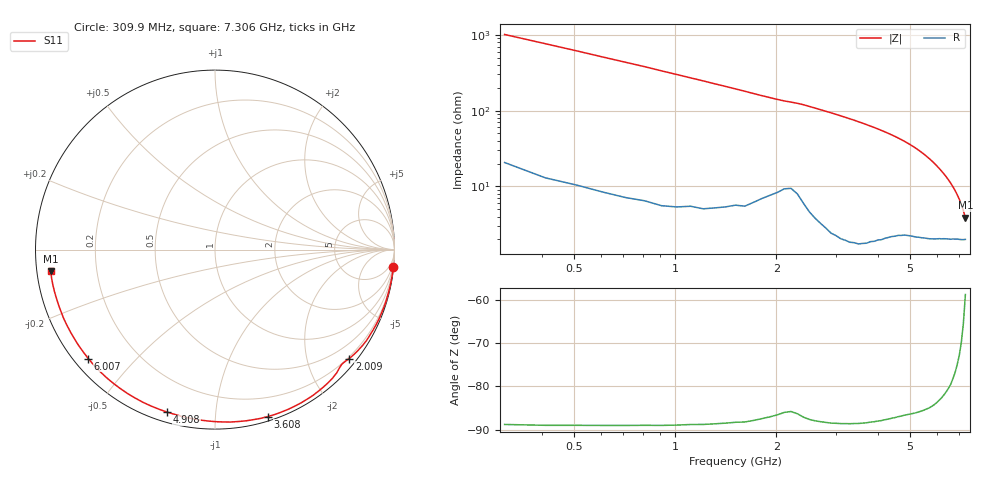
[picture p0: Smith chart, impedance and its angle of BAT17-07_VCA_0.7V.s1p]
! Infineon Technologies  Discrete & RF Semiconductors
! BAT17-07
! VCA = 0.7 V
! One-Port S-Parameters
# Hz  S  MA  R  50
!f  S11
!Hz  Mag  Ang
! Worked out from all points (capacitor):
!   71 points, 309.9 MHz to 7.306 GHz, reference 50 ohm
!   read as one part to ground: C = 509 fF near 309.9 MHz
!   lowest |Z| = 3.85 ohm at 7.306 GHz (marker M1)
!   S11 on the Smith chart (normalised r, x): 309.9 MHz: 0, -20; 2.009 GHz: 0.17, -2.81; 3.608 GHz: 0.04, -1.37; 4.908 GHz: 0.04, -0.75; 6.007 GHz: 0.04, -0.37; 7.306 GHz: 0.04, -0.07
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3.0985e8  0.998 -5.7
8.096e8  0.9956 -15.0
1.2094e9  0.9921 -22.9
1.6092e9  0.9844 -31.0
1.8091e9  0.975 -35.2
2.009e9  0.9635 -39.1
2.10895e9  0.9558 -40.8
2.30885e9  0.957 -43.6
2.50875e9  0.9706 -47.6
2.70865e9  0.9755 -51.9
3.0085e9  0.9788 -58.5
3.30835e9  0.9789 -65.4
3.6082e9  0.9757 -72.4
3.8081e9  0.9714 -77.3
4.10795e9  0.9646 -84.8
4.30785e9  0.9586 -89.9
4.50775e9  0.9531 -95.2
4.70765e9  0.948 -100.7
4.90755e9  0.9439 -106.4
5.2074e9  0.9406 -115.2
5.4073e9  0.9382 -121.3
5.6072e9  0.9359 -127.4
5.8071e9  0.9338 -133.4
6.007e9  0.9311 -139.3
6.2069e9  0.9288 -145.0
6.50675e9  0.9264 -153.0
6.90655e9  0.9241 -162.9
7.30635e9  0.9236 -172.5
